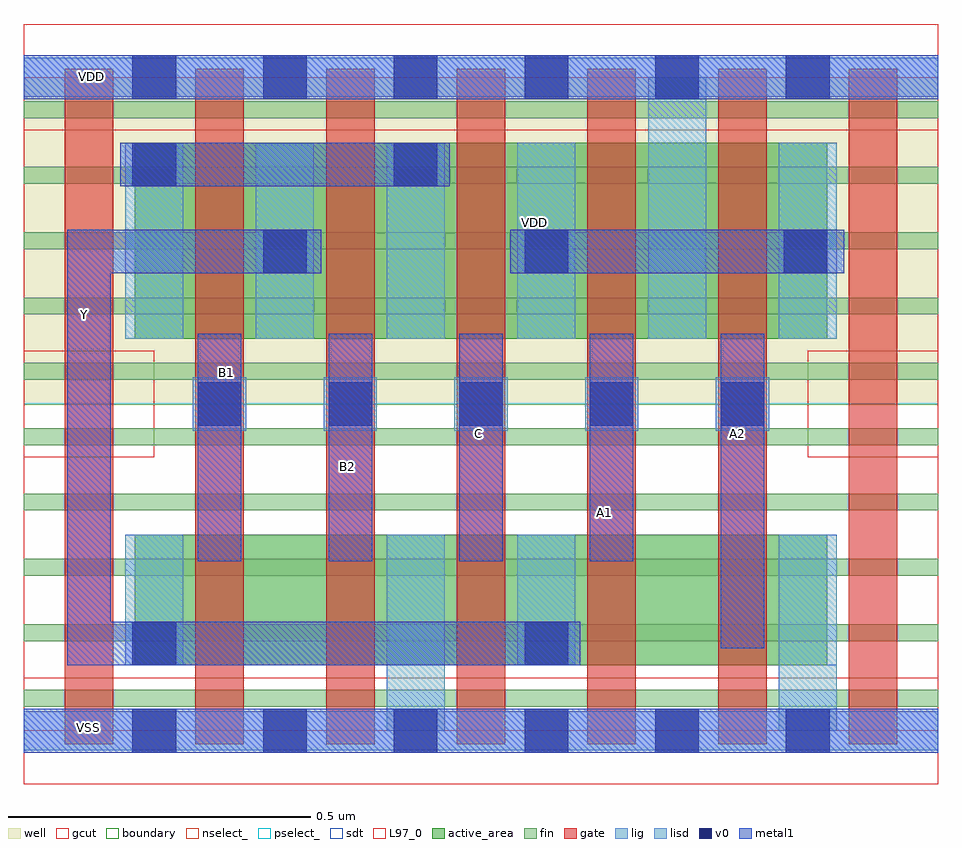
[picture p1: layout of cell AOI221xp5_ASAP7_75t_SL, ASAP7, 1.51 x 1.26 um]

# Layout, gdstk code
import gdstk
lib = gdstk.Library(unit=1e-6, precision=2.5e-10)
def R(c, l, rs):  # rectangles x0, y0, x1, y1
    for r in rs: c.add(gdstk.rectangle(r[:2], r[2:], *l))
def A(c, l, x, y, w, h, nx, ny, dx, dy):  # array of equal rectangles
    R(c, l, [(x+i*dx, y+j*dy, x+i*dx+w, y+j*dy+h) for i in range(nx) for j in range(ny)])
def P(c, l, *ps):  # polygons
    for p in ps: c.add(gdstk.Polygon(p, *l))
well = (1, 0)
fin = (2, 0)
gate = (7, 0)
gcut = (10, 0)
active_area = (11, 0)
nselect_ = (12, 0)
pselect_ = (13, 0)
lig = (16, 0)
lisd = (17, 0)
v0 = (18, 0)
metal1 = (19, 0)
sdt = (88, 0)
L97_0 = (97, 0)
boundary = (100, 0)

aoi221xp5_asap7_75t_sl = lib.new_cell('AOI221xp5_ASAP7_75t_SL')
R(aoi221xp5_asap7_75t_sl, well, [(0,0.54,1.512,1.08)])
A(aoi221xp5_asap7_75t_sl, fin, 0, 0.04, 1.512, 0.028, 1, 10, 0, 0.108)
A(aoi221xp5_asap7_75t_sl, gate, 0.068, -0.022, 0.08, 1.116, 7, 1, 0.216, 0)
R(aoi221xp5_asap7_75t_sl, gcut, [(0,-0.088,1.512,0.088), (0,0.452,0.216,0.628), (1.296,0.452,1.512,0.628), (0,0.992,1.512,1.168)])
R(aoi221xp5_asap7_75t_sl, active_area, [(0.184,0.108,1.328,0.324), (0.184,0.648,1.328,0.972)])
R(aoi221xp5_asap7_75t_sl, nselect_, [(0,0,1.512,0.54)])
R(aoi221xp5_asap7_75t_sl, pselect_, [(0,0.54,1.512,1.08)])
A(aoi221xp5_asap7_75t_sl, lig, 0.28, 0.496, 0.088, 0.088, 5, 1, 0.216, 0)
R(aoi221xp5_asap7_75t_sl, lig, [(0,-0.032,1.512,0.032), (0,1.048,1.512,1.112)])
A(aoi221xp5_asap7_75t_sl, lisd, 0.168, 0.648, 0.096, 0.324, 4, 1, 0.216, 0)
R(aoi221xp5_asap7_75t_sl, lisd, [(0.6,0,0.696,0.324), (1.248,0,1.344,0.324), (0.168,0.108,0.264,0.324), (0.816,0.108,0.912,0.324), (1.032,0.648,1.128,1.08), (1.248,0.648,1.344,0.972)])
A(aoi221xp5_asap7_75t_sl, v0, 0.18, -0.036, 0.072, 0.072, 6, 2, 0.216, 1.08)
A(aoi221xp5_asap7_75t_sl, v0, 0.288, 0.504, 0.072, 0.072, 5, 1, 0.216, 0)
R(aoi221xp5_asap7_75t_sl, v0, [(0.18,0.108,0.252,0.18), (0.828,0.108,0.9,0.18), (0.396,0.756,0.468,0.828), (0.828,0.756,0.9,0.828), (1.256,0.756,1.328,0.828), (0.18,0.9,0.252,0.972), (0.612,0.9,0.684,0.972)])
A(aoi221xp5_asap7_75t_sl, metal1, 0.288, 0.28, 0.072, 0.376, 4, 1, 0.216, 0)
R(aoi221xp5_asap7_75t_sl, metal1, [(0,-0.036,1.512,0.036), (1.152,0.136,1.224,0.656), (0.804,0.756,1.356,0.828), (0.16,0.9,0.704,0.972), (0,1.044,1.512,1.116)])
P(aoi221xp5_asap7_75t_sl, metal1, [(0.072,0.108),(0.92,0.108),(0.92,0.18),(0.144,0.18),(0.144,0.756),(0.492,0.756),(0.492,0.828),(0.072,0.828)])
A(aoi221xp5_asap7_75t_sl, sdt, 0.168, 0.648, 0.096, 0.324, 6, 1, 0.216, 0)
R(aoi221xp5_asap7_75t_sl, sdt, [(0.168,0.108,0.264,0.324), (0.6,0.108,0.696,0.324), (0.816,0.108,0.912,0.324), (1.248,0.108,1.344,0.324)])
R(aoi221xp5_asap7_75t_sl, L97_0, [(0,0,1.512,1.08)])
R(aoi221xp5_asap7_75t_sl, boundary, [(0,0,1.512,1.08)])
aoi221xp5_asap7_75t_sl.add(gdstk.Label('C', (0.752,0.492), layer=19, texttype=251))
aoi221xp5_asap7_75t_sl.add(gdstk.Label('B2', (0.536,0.436), layer=19, texttype=251))
aoi221xp5_asap7_75t_sl.add(gdstk.Label('B1', (0.336,0.592), layer=19, texttype=251))
aoi221xp5_asap7_75t_sl.add(gdstk.Label('A2', (1.18,0.492), layer=19, texttype=251))
aoi221xp5_asap7_75t_sl.add(gdstk.Label('Y', (0.1,0.688), layer=19, texttype=251))
aoi221xp5_asap7_75t_sl.add(gdstk.Label('VDD', (0.112,1.082), layer=19, texttype=251))
aoi221xp5_asap7_75t_sl.add(gdstk.Label('VSS', (0.108,0.006), layer=19, texttype=251))
aoi221xp5_asap7_75t_sl.add(gdstk.Label('A1', (0.96,0.36), layer=19, texttype=251))
aoi221xp5_asap7_75t_sl.add(gdstk.Label('VDD', (0.844,0.84), layer=1, texttype=251))
aoi221xp5_asap7_75t_sl.add(gdstk.Label('VSS', (0.952,-0.228), layer=3, texttype=251))

lib.write_gds('AOI221xp5_ASAP7_75t_SL.gds')
